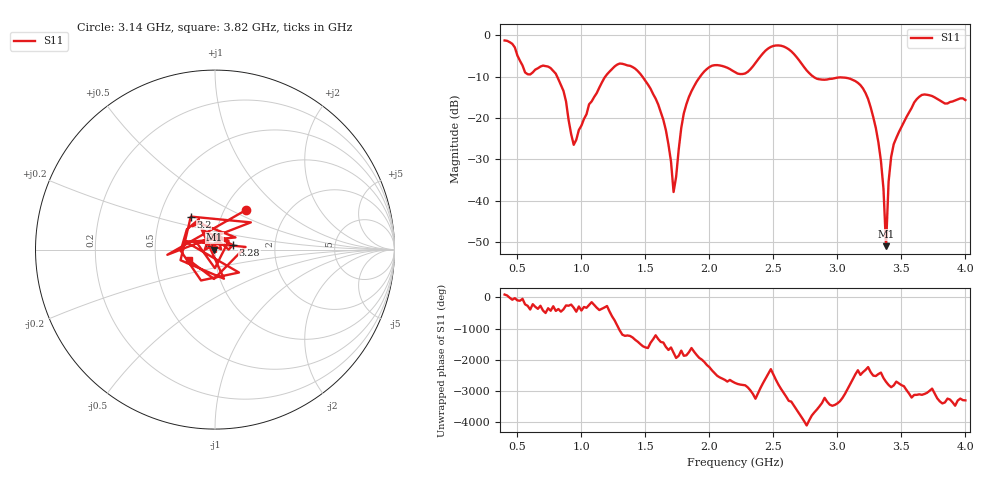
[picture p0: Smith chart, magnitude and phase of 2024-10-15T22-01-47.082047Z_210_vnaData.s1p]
! Created with skrf (http://scikit-rf.org).
# Hz S RI R 50.0
!freq ReS11 ImS11
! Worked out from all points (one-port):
!   181 points, 400 MHz to 4 GHz, reference 50 ohm
!   lowest |S11| = -51.0 dB at 3.38 GHz (marker M1), VSWR 1.01, Z = 49.7 + j0.0255 ohm
!   |S11| at or under -10 dB: 811.1 MHz to 1.186 GHz (374.7 MHz wide, 37.5 % of centre); 1.478 GHz to 1.927 GHz (449.2 MHz wide, 26.4 % of centre); 2.813 GHz to end of sweep
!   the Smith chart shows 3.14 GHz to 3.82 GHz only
!   S11 on the Smith chart (normalised r, x): 3.14 GHz: 1.26, +0.60; 3.2 GHz: 0.72, +0.28; 3.28 GHz: 1.22, +0.06; 3.82 GHz: 0.74, -0.09
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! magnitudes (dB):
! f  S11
! 400 MHz  -1.2
! 560 MHz  -8.9
! 740 MHz  -7.5
! 860 MHz  -13.4
! 940 MHz  -26.5
! 1.3 GHz  -6.8
! 1.6 GHz  -16.7
! 1.68 GHz  -26.4
! 1.72 GHz  -37.9
! 1.76 GHz  -27.7
! 1.82 GHz  -16.7
! 1.92 GHz  -10.3
! 2.2 GHz  -8.9
! 2.5 GHz  -2.5
! 2.66 GHz  -4.5
! 2.84 GHz  -10.5
! 3.1 GHz  -10.5
! 3.14 GHz  -11.0
! 3.2 GHz  -12.8
! 3.28 GHz  -19.8
! 3.34 GHz  -30.3
! 3.36 GHz  -37.1
! 3.38 GHz  -51.0
! 3.4 GHz  -35.4
! 3.42 GHz  -29.4
! 3.56 GHz  -18.6
! 3.82 GHz  -16.1
! 4 GHz  -15.6
